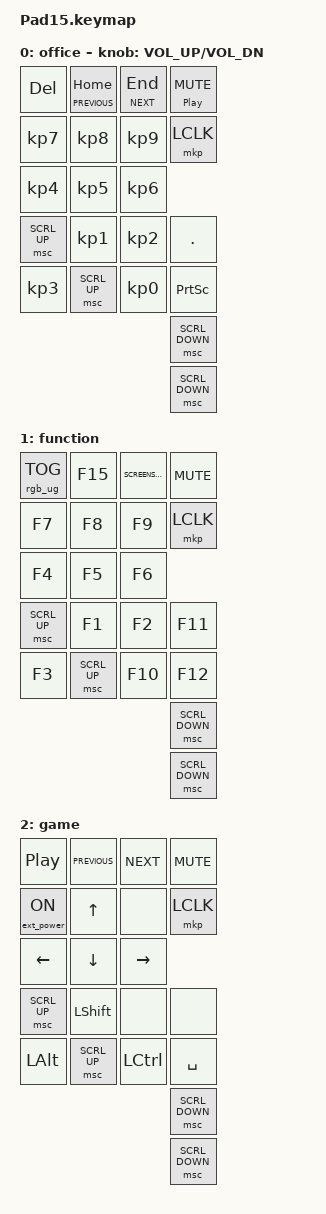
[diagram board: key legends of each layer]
/* 第一部分：引入必要的字典 */
#include <behaviors.dtsi>          // 核心行为
#include <dt-bindings/zmk/keys.h>  // 键盘按键字典 (如 A, B, RET)
#include <dt-bindings/zmk/bt.h>    // 蓝牙控制字典
#include <dt-bindings/zmk/ext_power.h> // 电源控制
#include <dt-bindings/zmk/mouse.h> // 鼠标控制字典
#include <dt-bindings/zmk/rgb.h>        // RGB 灯效控制
#include <dt-bindings/zmk/outputs.h>    // 输出切换 (USB/BLE)
#include <dt-bindings/zmk/pointing.h>   /* 鼠标模拟*/
#include <dt-bindings/zmk/backlight.h>  //背光控制


/* 第二部分：定义你的层级名称（方便阅读，不是必须的，但极度推荐） */
#define DEFAULT 0   // 办公模式
#define GAME    1   // 游戏模式
#define GLOBAL  2   // 你的全局设置层 (音量/灯光)

/ {
    combos {
        compatible = "zmk,combos";

        studio_unlock {
            bindings = <&studio_unlock>;
            key-positions = <0 4>; 
            timeout-ms = <150>;
        };
        BOOTLOADER {
            bindings = <&delay_boot 0 0>;
            key-positions = <0 2 16>;
            layers = <0 1 2>;
            timeout-ms = <150>;
        };
        change_layer {
            bindings = <&to 0>;
            key-positions = <2 1>;
            timeout-ms = <150>;
            layers = <2>;
        };

        change_layer1 {
            bindings = <&to 1>;
            key-positions = <2 1>;
            timeout-ms = <150>;
            layers = <0>;
        };

        change_layer2 {
            bindings = <&to 2>;
            key-positions = <2 1>;
            timeout-ms = <150>;
            layers = <1>;
        };
        BTCLR {
            bindings = <&bt BT_CLR>;
            key-positions = <2 16>;
            layers = <0 1 2>;
            timeout-ms = <200>;
        };
    };

    behaviors {
        hold_tap: hold_tap {
            compatible = "zmk,behavior-hold-tap";
            /* 注意第一个按键是hold功能，第二个才是tap */
            bindings = <&kp>, <&kp>;
            #binding-cells = <2>;
            tapping-term-ms = <1500>;
        };
        delay_boot: delay_boot {
            compatible = "zmk,behavior-hold-tap";
            #binding-cells = <2>;
            flavor = "tap-preferred";
            tapping-term-ms = <3000>; 
            bindings = <&bootloader>, <&none>; 
        };
    };

    keymap {
        compatible = "zmk,keymap";
        office {
            bindings = <
                &kp DEL      &hold_tap C_PREVIOUS HOME  &hold_tap C_NEXT END      &hold_tap C_PLAY_PAUSE C_MUTE
                &kp KP_NUMBER_7      &kp KP_NUMBER_8      &kp KP_NUMBER_9       &mkp LCLK
                &kp KP_NUMBER_4      &kp KP_NUMBER_5      &kp KP_NUMBER_6       &msc SCRL_UP
                &kp KP_NUMBER_1      &kp KP_NUMBER_2      &kp KP_NUMBER_3       &msc SCRL_UP
                &kp KP_NUMBER_0      &kp PERIOD     &kp PRINTSCREEN       &msc SCRL_DOWN
                /* 第六行 = 触摸条 4 个键（可随意绑定） */
                &msc SCRL_DOWN
            >;
            sensor-bindings = <&inc_dec_kp C_VOL_UP C_VOL_DN>;   /* 绑定写在这里才能生效，顺时针音量加，逆时针音量减 */
        };

        function {
            bindings = <
                &rgb_ug RGB_TOG  &kp F15  &kp K_SCREENSAVER  &kp C_MUTE
                &kp F7      &kp F8      &kp F9      &mkp LCLK
                &kp F4      &kp F5      &kp F6      &msc SCRL_UP
                &kp F1      &kp F2      &kp F3      &msc SCRL_UP
                &kp F10     &kp F11     &kp F12     &msc SCRL_DOWN
                /* 第六行 = 触摸条 */
                &msc SCRL_DOWN  
            >;
        };

        game {
            bindings = <
                &kp C_PLAY_PAUSE      &kp C_PREVIOUS     &kp C_NEXT      &kp C_MUTE
                &ext_power EP_ON           &kp UP             &none           &mkp LCLK
                &kp LEFT        &kp DOWN           &kp RIGHT       &msc SCRL_UP
                &kp LEFT_SHIFT  &none              &kp LALT        &msc SCRL_UP
                &kp LCTRL       &none              &kp SPACE       &msc SCRL_DOWN
                /* 第六行 = 触摸条 */
                &msc SCRL_DOWN  
            >;
        };
        /* === ZMK Studio 必须的保留层 === */
        extra1 {
            status = "reserved";
        };
        extra2 {
            status = "reserved";
        };
    };
};
